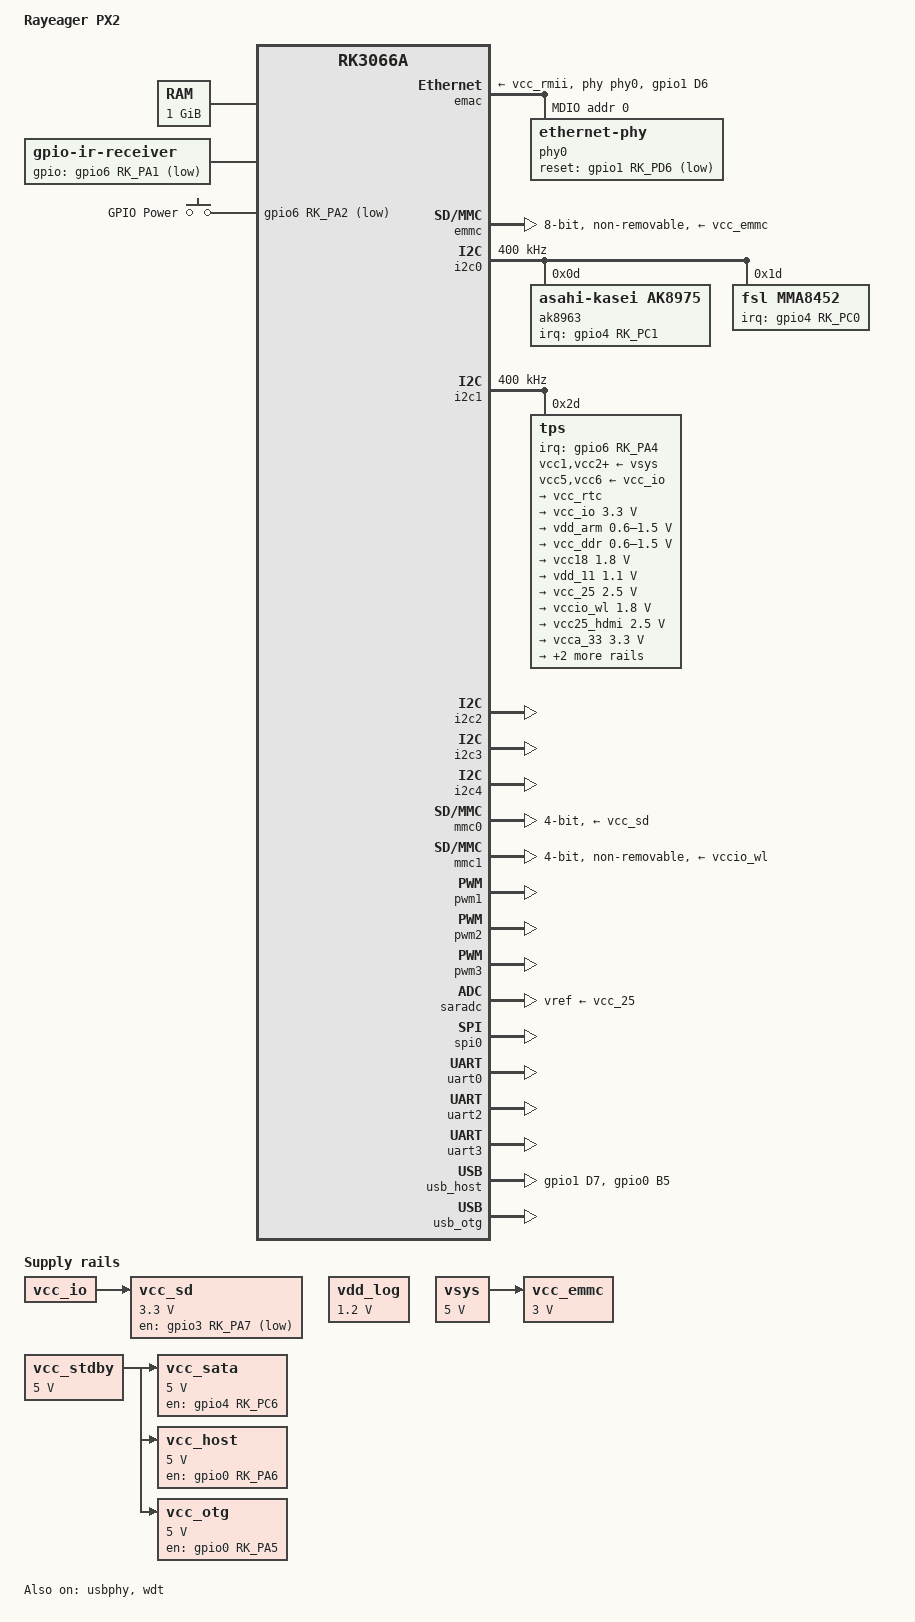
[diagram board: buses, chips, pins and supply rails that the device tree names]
// SPDX-License-Identifier: (GPL-2.0+ OR MIT)
/*
 * Copyright (c) 2014, 2015 FUKAUMI Naoki <naobsd@gmail.com>
 */

/dts-v1/;
#include <dt-bindings/input/input.h>
#include "rk3066a.dtsi"

/ {
	model = "Rayeager PX2";
	compatible = "chipspark,rayeager-px2", "rockchip,rk3066a";

	aliases {
		mmc0 = &mmc0;
		mmc1 = &mmc1;
		mmc2 = &emmc;
	};

	memory@60000000 {
		device_type = "memory";
		reg = <0x60000000 0x40000000>;
	};

	ir: ir-receiver {
		compatible = "gpio-ir-receiver";
		gpios = <&gpio6 RK_PA1 GPIO_ACTIVE_LOW>;
		pinctrl-names = "default";
		pinctrl-0 = <&ir_int>;
	};

	keys: gpio-keys {
		compatible = "gpio-keys";

		key-power {
			wakeup-source;
			gpios = <&gpio6 RK_PA2 GPIO_ACTIVE_LOW>;
			label = "GPIO Power";
			linux,code = <KEY_POWER>;
			pinctrl-names = "default";
			pinctrl-0 = <&pwr_key>;
		};
	};

	vdd_log: regulator-vdd-log {
		compatible = "pwm-regulator";
		pwms = <&pwm3 0 1000>;
		regulator-name = "vdd_log";
		regulator-min-microvolt = <1200000>;
		regulator-max-microvolt = <1200000>;
		regulator-always-on;
		voltage-table = <1000000 100>,
				<1200000 42>;
		status = "okay";
	};

	vsys: regulator-vsys {
		compatible = "regulator-fixed";
		regulator-name = "vsys";
		regulator-min-microvolt = <5000000>;
		regulator-max-microvolt = <5000000>;
		regulator-always-on;
		regulator-boot-on;
	};

	/* input for 5V_STDBY is VSYS or DC5V, selectable by jumper J4 */
	vcc_stdby: regulator-stdby {
		compatible = "regulator-fixed";
		regulator-name = "5v_stdby";
		regulator-min-microvolt = <5000000>;
		regulator-max-microvolt = <5000000>;
		regulator-always-on;
		regulator-boot-on;
	};

	vcc_emmc: regulator-emmc {
		compatible = "regulator-fixed";
		regulator-name = "emmc_vccq";
		regulator-min-microvolt = <3000000>;
		regulator-max-microvolt = <3000000>;
		vin-supply = <&vsys>;
	};

	vcc_sata: regulator-sata {
		compatible = "regulator-fixed";
		enable-active-high;
		gpio = <&gpio4 RK_PC6 GPIO_ACTIVE_HIGH>;
		pinctrl-names = "default";
		pinctrl-0 = <&sata_pwr>;
		regulator-name = "usb_5v";
		regulator-min-microvolt = <5000000>;
		regulator-max-microvolt = <5000000>;
		regulator-always-on;
		vin-supply = <&vcc_stdby>;
	};

	vcc_sd: regulator-sdmmc {
		compatible = "regulator-fixed";
		gpio = <&gpio3 RK_PA7 GPIO_ACTIVE_LOW>;
		pinctrl-names = "default";
		pinctrl-0 = <&sdmmc_pwr>;
		regulator-name = "vcc_sd";
		regulator-min-microvolt = <3300000>;
		regulator-max-microvolt = <3300000>;
		startup-delay-us = <100000>;
		vin-supply = <&vcc_io>;
	};

	vcc_host: regulator-usb-host {
		compatible = "regulator-fixed";
		enable-active-high;
		gpio = <&gpio0 RK_PA6 GPIO_ACTIVE_HIGH>;
		pinctrl-names = "default";
		pinctrl-0 = <&host_drv>;
		regulator-name = "host-pwr";
		regulator-min-microvolt = <5000000>;
		regulator-max-microvolt = <5000000>;
		regulator-always-on;
		vin-supply = <&vcc_stdby>;
	};

	vcc_otg: regulator-usb-otg {
		compatible = "regulator-fixed";
		enable-active-high;
		gpio = <&gpio0 RK_PA5 GPIO_ACTIVE_HIGH>;
		pinctrl-names = "default";
		pinctrl-0 = <&otg_drv>;
		regulator-name = "vcc_otg";
		regulator-min-microvolt = <5000000>;
		regulator-max-microvolt = <5000000>;
		regulator-always-on;
		vin-supply = <&vcc_stdby>;
	};
};

&cpu0 {
	cpu-supply = <&vdd_arm>;
};

&cpu1 {
	cpu-supply = <&vdd_arm>;
};

&emac {
	phy = <&phy0>;
	phy-supply = <&vcc_rmii>;
	pinctrl-names = "default";
	pinctrl-0 = <&emac_xfer>, <&emac_mdio>, <&rmii_rst>;
	status = "okay";

	mdio {
		#address-cells = <1>;
		#size-cells = <0>;

		phy0: ethernet-phy@0 {
			reg = <0>;
			reset-gpios = <&gpio1 RK_PD6 GPIO_ACTIVE_LOW>;
		};
	};
};

&emmc {
	bus-width = <8>;
	cap-mmc-highspeed;
	non-removable;
	pinctrl-names = "default";
	pinctrl-0 = <&emmc_clk>, <&emmc_cmd>, <&emmc_rst>;
	vmmc-supply = <&vcc_emmc>;
	vqmmc-supply = <&vcc_emmc>;
	status = "okay";
};

&i2c0 {
	clock-frequency = <400000>;
	status = "okay";

	ak8963: ak8963@d {
		compatible = "asahi-kasei,ak8975";
		reg = <0x0d>;
		interrupt-parent = <&gpio4>;
		interrupts = <RK_PC1 IRQ_TYPE_EDGE_RISING>;
		pinctrl-names = "default";
		pinctrl-0 = <&comp_int>;
	};

	mma8452: mma8452@1d {
		compatible = "fsl,mma8452";
		reg = <0x1d>;
		interrupt-parent = <&gpio4>;
		interrupts = <RK_PC0 IRQ_TYPE_EDGE_RISING>;
		pinctrl-names = "default";
		pinctrl-0 = <&gsensor_int>;
	};
};

&i2c1 {
	clock-frequency = <400000>;
	status = "okay";

	tps: tps@2d {
		reg = <0x2d>;
		interrupt-parent = <&gpio6>;
		interrupts = <RK_PA4 IRQ_TYPE_EDGE_RISING>;
		pinctrl-names = "default";
		pinctrl-0 = <&pmic_int>, <&pwr_hold>;

		vcc1-supply = <&vsys>;
		vcc2-supply = <&vsys>;
		vcc3-supply = <&vsys>;
		vcc4-supply = <&vsys>;
		vcc5-supply = <&vcc_io>;
		vcc6-supply = <&vcc_io>;
		vcc7-supply = <&vsys>;
		vccio-supply = <&vsys>;

		regulators {
			vcc_rtc: regulator@0 {
				regulator-name = "vcc_rtc";
				regulator-always-on;
			};

			vcc_io: regulator@1 {
				regulator-name = "vcc_io";
				regulator-min-microvolt = <3300000>;
				regulator-max-microvolt = <3300000>;
				regulator-always-on;
			};

			vdd_arm: regulator@2 {
				regulator-name = "vdd_arm";
				regulator-min-microvolt = <600000>;
				regulator-max-microvolt = <1500000>;
				regulator-always-on;
				regulator-boot-on;
			};

			vcc_ddr: regulator@3 {
				regulator-name = "vcc_ddr";
				regulator-min-microvolt = <600000>;
				regulator-max-microvolt = <1500000>;
				regulator-always-on;
				regulator-boot-on;
			};

			vcc18: regulator@5 {
				regulator-name = "vcc18";
				regulator-min-microvolt = <1800000>;
				regulator-max-microvolt = <1800000>;
				regulator-always-on;
			};

			vdd_11: regulator@6 {
				regulator-name = "vdd_11";
				regulator-min-microvolt = <1100000>;
				regulator-max-microvolt = <1100000>;
				regulator-always-on;
			};

			vcc_25: regulator@7 {
				regulator-name = "vcc_25";
				regulator-min-microvolt = <2500000>;
				regulator-max-microvolt = <2500000>;
				regulator-always-on;
			};

			vccio_wl: regulator@8 {
				regulator-name = "vccio_wl";
				regulator-min-microvolt = <1800000>;
				regulator-max-microvolt = <1800000>;
			};

			vcc25_hdmi: regulator@9 {
				regulator-name = "vcc25_hdmi";
				regulator-min-microvolt = <2500000>;
				regulator-max-microvolt = <2500000>;
			};

			vcca_33: regulator@10 {
				regulator-name = "vcca_33";
				regulator-min-microvolt = <3300000>;
				regulator-max-microvolt = <3300000>;
			};

			vcc_rmii: regulator@11 {
				regulator-name = "vcc_rmii";
				regulator-min-microvolt = <3300000>;
				regulator-max-microvolt = <3300000>;
			};

			vcc28_cif: regulator@12 {
				regulator-name = "vcc28_cif";
				regulator-min-microvolt = <2800000>;
				regulator-max-microvolt = <2800000>;
			};
		};
	};
};

#include "../tps65910.dtsi"

&i2c2 {
	status = "okay";
};

&i2c3 {
	status = "okay";
};

&i2c4 {
	status = "okay";
};

&mmc0 {
	bus-width = <4>;
	disable-wp;
	pinctrl-names = "default";
	pinctrl-0 = <&sd0_clk>, <&sd0_cmd>, <&sd0_cd>, <&sd0_bus4>;
	vmmc-supply = <&vcc_sd>;
	cap-mmc-highspeed;
	cap-sd-highspeed;
	status = "okay";
};

&mmc1 {
	bus-width = <4>;
	non-removable;
	pinctrl-names = "default";
	pinctrl-0 = <&sd1_clk>, <&sd1_cmd>, <&sd1_bus4>;
	vmmc-supply = <&vccio_wl>;
	status = "okay";
};

&pinctrl {
	pcfg_output_high: pcfg-output-high {
		output-high;
	};

	ak8963 {
		comp_int: comp-int {
			rockchip,pins = <4 RK_PC1 RK_FUNC_GPIO &pcfg_pull_default>;
		};
	};

	emac {
		rmii_rst: rmii-rst {
			rockchip,pins = <1 RK_PD6 RK_FUNC_GPIO &pcfg_output_high>;
		};
	};

	ir {
		ir_int: ir-int {
			rockchip,pins = <6 RK_PA1 RK_FUNC_GPIO &pcfg_pull_default>;
		};
	};

	keys {
		pwr_key: pwr-key {
			rockchip,pins = <6 RK_PA2 RK_FUNC_GPIO &pcfg_pull_default>;
		};
	};

	mma8452 {
		gsensor_int: gsensor-int {
			rockchip,pins = <4 RK_PC0 RK_FUNC_GPIO &pcfg_pull_default>;
		};
	};

	mmc {
		sdmmc_pwr: sdmmc-pwr {
			rockchip,pins = <3 RK_PA7 RK_FUNC_GPIO &pcfg_pull_default>;
		};
	};

	usb_host {
		host_drv: host-drv {
			rockchip,pins = <0 RK_PA6 RK_FUNC_GPIO &pcfg_pull_default>;
		};

		hub_rst: hub-rst {
			rockchip,pins = <1 RK_PD7 RK_FUNC_GPIO &pcfg_output_high>;
		};

		sata_pwr: sata-pwr {
			rockchip,pins = <4 RK_PC6 RK_FUNC_GPIO &pcfg_pull_default>;
		};

		sata_reset: sata-reset {
			rockchip,pins = <0 RK_PB5 RK_FUNC_GPIO &pcfg_output_high>;
		};
	};

	usb_otg {
		otg_drv: otg-drv {
			rockchip,pins = <0 RK_PA5 RK_FUNC_GPIO &pcfg_pull_default>;
		};
	};

	tps {
		pmic_int: pmic-int {
			rockchip,pins = <6 RK_PA4 RK_FUNC_GPIO &pcfg_pull_default>;
		};

		pwr_hold: pwr-hold {
			rockchip,pins = <6 RK_PB0 RK_FUNC_GPIO &pcfg_output_high>;
		};
	};
};

&pwm1 {
	status = "okay";
};

&pwm2 {
	status = "okay";
};

&pwm3 {
	status = "okay";
};

&saradc {
	vref-supply = <&vcc_25>;
	status = "okay";
};

&spi0 {
	status = "okay";
};

&uart0 {
	pinctrl-names = "default";
	pinctrl-0 = <&uart0_xfer>, <&uart0_cts>, <&uart0_rts>;
	status = "okay";
};

&uart2 {
	status = "okay";
};

&uart3 {
	pinctrl-names = "default";
	pinctrl-0 = <&uart3_xfer>, <&uart3_cts>, <&uart3_rts>;
	status = "okay";
};

&usb_host {
	pinctrl-names = "default";
	pinctrl-0 = <&hub_rst>, <&sata_reset>;
	status = "okay";
};

&usbphy {
	status = "okay";
};

&usb_otg {
	status = "okay";
};

&wdt {
	status = "okay";
};
